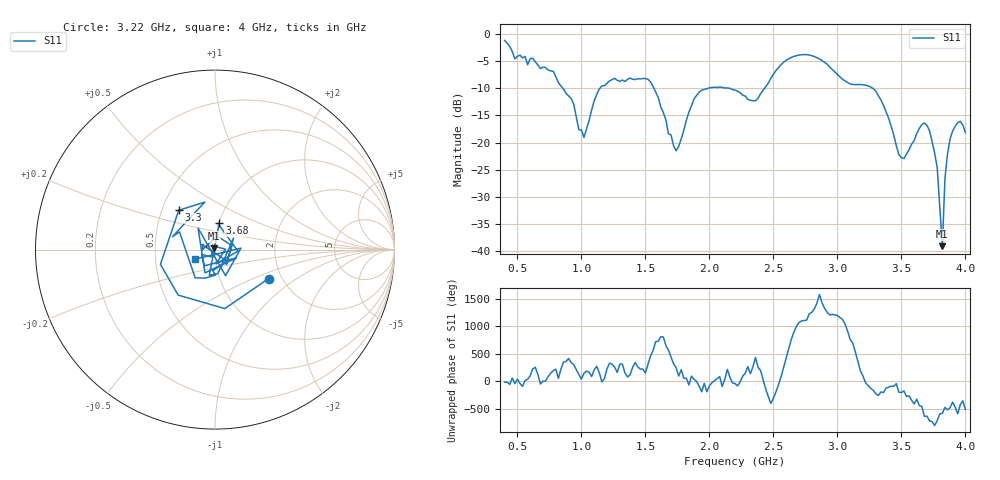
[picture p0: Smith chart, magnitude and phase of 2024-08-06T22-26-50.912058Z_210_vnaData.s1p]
!Created with skrf (http://scikit-rf.org).
# Hz S RI R 50.0
!freq ReS11 ImS11
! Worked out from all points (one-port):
!   181 points, 400 MHz to 4 GHz, reference 50 ohm
!   lowest |S11| = -39.2 dB at 3.82 GHz (marker M1), VSWR 1.02, Z = 49.2 + j0.768 ohm
!   |S11| at or under -10 dB: 856.4 MHz to 1.144 GHz (287.3 MHz wide, 28.7 % of centre); 1.567 GHz to 1.988 GHz (420.7 MHz wide, 23.7 % of centre); 3.278 GHz to end of sweep (the widest 3 of 4)
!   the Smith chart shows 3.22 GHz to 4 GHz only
!   S11 on the Smith chart (normalised r, x): 3.22 GHz: 1.71, -0.62; 3.3 GHz: 0.61, +0.29; 3.68 GHz: 1.00, +0.31; 4 GHz: 0.80, -0.09
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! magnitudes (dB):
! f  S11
! 400 MHz  -1.1
! 480 MHz  -4.5
! 620 MHz  -4.4
! 860 MHz  -10.1
! 1.02 GHz  -19.1
! 1.14 GHz  -10.1
! 1.3 GHz  -8.7
! 1.54 GHz  -8.8
! 1.72 GHz  -20.6
! 1.76 GHz  -20.7
! 1.92 GHz  -10.7
! 2.2 GHz  -10.3
! 2.36 GHz  -12.3
! 2.66 GHz  -4.1
! 2.86 GHz  -4.5
! 3.1 GHz  -9.2
! 3.22 GHz  -9.4
! 3.3 GHz  -10.5
! 3.48 GHz  -22.2
! 3.56 GHz  -21.3
! 3.68 GHz  -16.4
! 3.72 GHz  -17.8
! 3.78 GHz  -24.7
! 3.82 GHz  -39.2
! 3.84 GHz  -26.7
! 3.88 GHz  -19.4
! 3.96 GHz  -16.1
! 4 GHz  -18.2
